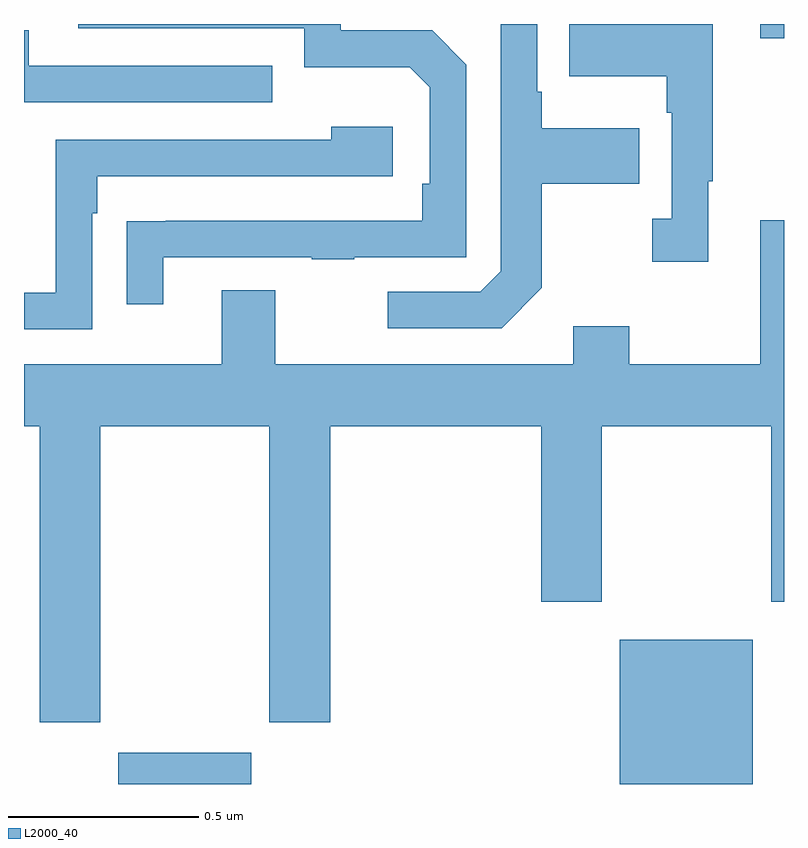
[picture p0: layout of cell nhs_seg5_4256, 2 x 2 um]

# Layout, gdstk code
import gdstk
lib = gdstk.Library(unit=1e-6, precision=1e-09)
def R(c, l, rs):  # rectangles x0, y0, x1, y1
    for r in rs: c.add(gdstk.rectangle(r[:2], r[2:], *l))
def P(c, l, *ps):  # polygons
    for p in ps: c.add(gdstk.Polygon(p, *l))
L2000_40 = (2000, 40)

nhs_seg5_4256 = lib.new_cell('nhs_seg5_4256')
R(nhs_seg5_4256, L2000_40, [(168.248,875.799,168.598,875.881), (169.568,875.799,169.918,876.178), (169.937,877.761,170,877.799)])
P(nhs_seg5_4256, L2000_40, [(169.801,877.385),(169.813,877.385),(169.813,877.799),(169.435,877.799),(169.435,877.661),(169.692,877.661),(169.692,877.565),(169.704,877.565),(169.704,877.286),(169.653,877.286),(169.653,877.173),(169.801,877.173)],
  [(168.367,877.185),(168.757,877.185),(168.757,877.18),(168.869,877.18),(168.869,877.185),(169.164,877.185),(169.164,877.692),(169.074,877.782),(168.834,877.782),(168.834,877.799),(168.143,877.799),(168.143,877.788),(168.738,877.788),(168.738,877.685),(169.015,877.685),(169.068,877.632),(169.068,877.378),(169.048,877.378),(169.048,877.281),(168.373,877.281),(168.373,877.28),(168.271,877.28),(168.271,877.062),(168.367,877.062)],
  [(169.363,877.105),(169.363,877.378),(169.619,877.378),(169.619,877.525),(169.363,877.525),(169.363,877.621),(169.35,877.621),(169.35,877.799),(169.254,877.799),(169.254,877.149),(169.2,877.095),(168.957,877.095),(168.957,876.999),(169.257,876.999)],
  [(168.653,877.689),(168.013,877.689),(168.013,877.783),(168,877.783),(168,877.593),(168.653,877.593)],
  [(168.18,877.301),(168.193,877.301),(168.193,877.398),(168.97,877.398),(168.97,877.528),(168.809,877.528),(168.809,877.494),(168.084,877.494),(168.084,877.092),(168,877.092),(168,876.996),(168.18,876.996)],
  [(168.201,876.74),(168.646,876.74),(168.646,875.961),(168.806,875.961),(168.806,876.74),(169.361,876.74),(169.361,876.279),(169.521,876.279),(169.521,876.74),(169.966,876.74),(169.966,876.279),(170,876.279),(170,877.282),(169.937,877.282),(169.937,876.904),(169.593,876.904),(169.593,877.003),(169.445,877.003),(169.445,876.904),(168.661,876.904),(168.661,877.099),(168.521,877.099),(168.521,876.904),(168,876.904),(168,876.74),(168.041,876.74),(168.041,875.961),(168.201,875.961)])

lib.write_gds('nhs_seg5_4256.gds')
